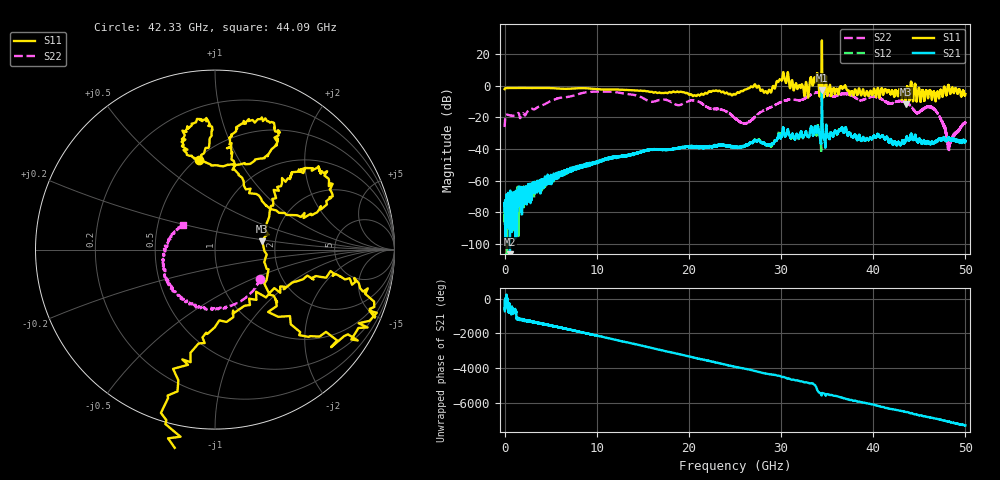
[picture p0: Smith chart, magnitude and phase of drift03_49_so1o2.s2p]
!Created with skrf (http://scikit-rf.org).
# Hz S RI R 50.0
!freq ReS11 ImS11 ReS21 ImS21 ReS12 ImS12 ReS22 ImS22
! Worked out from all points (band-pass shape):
!   10000 points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, 5.3 MHz to 50 GHz, reference 50 ohm
!   highest |S21| = -2.66 dB at 34.43 GHz (marker M1); lowest = -117.3 dB at 585.3 MHz (marker M2)
!   |S21| within 3 dB of the highest: 34.4275 GHz to 34.43503 GHz (7.533 MHz wide, 0.0219 % of centre)
!   lowest |S11| = -11.6 dB at 43.51 GHz (marker M3), VSWR 1.72, Z = 84.6 + j8.35 ohm
!   |S11| at or under -10 dB: 43.48849 GHz to 43.54428 GHz (55.79 MHz wide, 0.128 % of centre); 44.70964 GHz to 44.71023 GHz (588.7 kHz wide, 0.00132 % of centre); 45.13759 GHz to 45.14129 GHz (3.703 MHz wide, 0.0082 % of centre)
!   |S22| runs from -41.1 to -3.6 dB; largest |S21 - S12| = 0.24
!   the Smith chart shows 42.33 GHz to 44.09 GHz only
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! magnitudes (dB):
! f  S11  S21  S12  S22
! 5.3 MHz  -2.1  -74.6  -80.1  -26.1
! 585.3 MHz  -1.4  -117.3  -69.6  -18.7
! 2.1 GHz  -1.3  -65.4  -69.8  -17.8
! 8.34 GHz  -1.5  -51.7  -51.2  -4.7
! 16.67 GHz  -4.4  -40.4  -40.3  -9.1
! 20.75 GHz  -6.3  -38.6  -38.5  -9.3
! 25.01 GHz  -5.5  -38.9  -38.9  -20.6
! 26.27 GHz  -2.1  -37.6  -37.5  -23.6
! 28.72 GHz  -2.5  -37.6  -37.4  -14.0
! 30.14 GHz  4.5  -29.4  -29.7  -9.9
! 32.74 GHz  2.0  -29.5  -29.2  -7.3
! 33.34 GHz  2.5  -27.4  -27.7  -5.3
! 33.82 GHz  4.0  -29.0  -29.5  -4.3
! 34.43 GHz  28.7  -2.7  -4.8  -3.9
! 36.49 GHz  -0.2  -27.8  -27.9  -5.2
! 41.67 GHz  -2.9  -35.7  -35.5  -11.1
! 43.51 GHz  -11.6  -34.5  -34.5  -10.4
! 44.73 GHz  -9.6  -34.3  -34.5  -17.0
! 46.64 GHz  -4.6  -35.7  -35.6  -15.1
! 47.57 GHz  -5.7  -33.4  -33.6  -23.8
! 48.24 GHz  -1.2  -33.2  -33.4  -36.6
! 50 GHz  -5.2  -35.1  -35.0  -23.4
